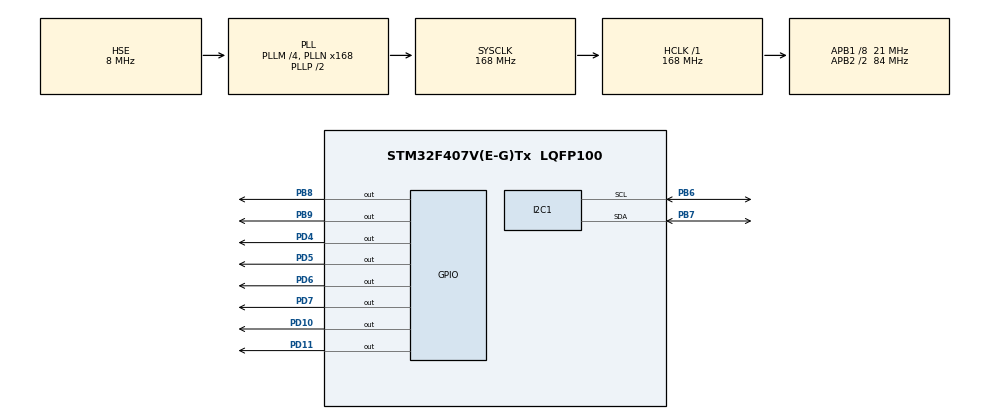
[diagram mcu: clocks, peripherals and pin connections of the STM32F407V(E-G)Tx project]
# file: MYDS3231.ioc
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I2C1.I2C_Mode=I2C_Standard
Mcu.Family=STM32F4
Mcu.Name=STM32F407V(E-G)Tx
Mcu.Package=LQFP100
NVIC.I2C1_ER_IRQn=true\:0\:0\:false\:false\:true
NVIC.I2C1_EV_IRQn=true\:0\:0\:false\:false\:true
NVIC.PriorityGroup=NVIC_PRIORITYGROUP_4
PB6.Mode=I2C
PB6.Signal=I2C1_SCL
PB7.Mode=I2C
PB7.Signal=I2C1_SDA
PB8.Signal=GPIO_Output
PB9.Signal=GPIO_Output
PD10.Signal=GPIO_Output
PD11.Signal=GPIO_Output
PD4.Signal=GPIO_Output
PD5.Signal=GPIO_Output
PD6.Signal=GPIO_Output
PD7.Signal=GPIO_Output
PH0-OSC_IN.Mode=HSE-External-Oscillator
PH0-OSC_IN.Signal=RCC_OSC_IN
PH1-OSC_OUT.Mode=HSE-External-Oscillator
PH1-OSC_OUT.Signal=RCC_OSC_OUT
ProjectManager.HeapSize=0x200
ProjectManager.StackSize=0x400
ProjectManager.TargetToolchain=MDK-ARM V5
RCC.48MHZClocksFreq_Value=84000000
RCC.AHBFreq_Value=168000000
RCC.APB1CLKDivider=RCC_HCLK_DIV8
RCC.APB1Freq_Value=21000000
RCC.APB1TimFreq_Value=42000000
RCC.APB2CLKDivider=RCC_HCLK_DIV2
RCC.APB2Freq_Value=84000000
RCC.APB2TimFreq_Value=168000000
RCC.CortexFreq_Value=168000000
RCC.HCLKFreq_Value=168000000
RCC.HSE_VALUE=8000000
RCC.HSI_VALUE=16000000
RCC.LSE_VALUE=32768
RCC.PLLM=4
RCC.PLLN=168
RCC.PLLSourceVirtual=RCC_PLLSOURCE_HSE
RCC.SYSCLKFreq_VALUE=168000000
RCC.SYSCLKSource=RCC_SYSCLKSOURCE_PLLCLK
RCC.VCOOutputFreq_Value=336000000
board=MYDS3231

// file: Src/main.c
/**
  ******************************************************************************
  * File Name          : main.c
  * Description        : Main program body
  ******************************************************************************
  *
  * COPYRIGHT(c) 2017 STMicroelectronics
  *
  * Redistribution and use in source and binary forms, with or without modification,
  * are permitted provided that the following conditions are met:
  *   1. Redistributions of source code must retain the above copyright notice,
  *      this list of conditions and the following disclaimer.
  *   2. Redistributions in binary form must reproduce the above copyright notice,
  *      this list of conditions and the following disclaimer in the documentation
  *      and/or other materials provided with the distribution.
  *   3. Neither the name of STMicroelectronics nor the names of its contributors
  *      may be used to endorse or promote products derived from this software
  *      without specific prior written permission.
  *
  * THIS SOFTWARE IS PROVIDED BY THE COPYRIGHT HOLDERS AND CONTRIBUTORS "AS IS"
  * AND ANY EXPRESS OR IMPLIED WARRANTIES, INCLUDING, BUT NOT LIMITED TO, THE
  * IMPLIED WARRANTIES OF MERCHANTABILITY AND FITNESS FOR A PARTICULAR PURPOSE ARE
  * DISCLAIMED. IN NO EVENT SHALL THE COPYRIGHT HOLDER OR CONTRIBUTORS BE LIABLE
  * FOR ANY DIRECT, INDIRECT, INCIDENTAL, SPECIAL, EXEMPLARY, OR CONSEQUENTIAL
  * DAMAGES (INCLUDING, BUT NOT LIMITED TO, PROCUREMENT OF SUBSTITUTE GOODS OR
  * SERVICES; LOSS OF USE, DATA, OR PROFITS; OR BUSINESS INTERRUPTION) HOWEVER
  * CAUSED AND ON ANY THEORY OF LIABILITY, WHETHER IN CONTRACT, STRICT LIABILITY,
  * OR TORT (INCLUDING NEGLIGENCE OR OTHERWISE) ARISING IN ANY WAY OUT OF THE USE
  * OF THIS SOFTWARE, EVEN IF ADVISED OF THE POSSIBILITY OF SUCH DAMAGE.
  *
  ******************************************************************************
  */
#include "main.h"
#include "stm32f4xx_hal.h"

/* USER CODE BEGIN Includes */
#include "main.h"
/* USER CODE END Includes */

I2C_HandleTypeDef hi2c1;
uint8_t aTxBuffer[8];
/* USER CODE BEGIN PV */
/* Private variables ---------------------------------------------------------*/

/* USER CODE END PV */

void SystemClock_Config(void);
void Error_Handler(void);
static void MX_GPIO_Init(void);
static void MX_I2C1_Init(void);

/* USER CODE BEGIN PFP */
/* Private function prototypes -----------------------------------------------*/

/* USER CODE END PFP */

int main(void)
{

  /* USER CODE BEGIN 1 */
	uint32_t i=0;
	uint8_t sec=0,min=0,hour=0,day=0,date=0,month=0,year=0;
	//char str[100];
  /* USER CODE END 1 */

  /* MCU Configuration----------------------------------------------------------*/

  /* Reset of all peripherals, Initializes the Flash interface and the Systick. */
  HAL_Init();

  /* Configure the system clock */
  SystemClock_Config();

  /* Initialize all configured peripherals */
  MX_GPIO_Init();
  MX_I2C1_Init();

  /* USER CODE BEGIN 2 */
	LCD_ini();
	LCD_Clear();
  /* USER CODE END 2 */

  /* Infinite loop */
  /* USER CODE BEGIN WHILE */
  while (1)
  {
		LCD_SetPos(0,1);
		aTxBuffer[0]=0;
		I2C_WriteBuffer(hi2c1,(uint16_t)0xD0,1);//Передадим адрес устройству
		while(HAL_I2C_GetState(&hi2c1)!=HAL_I2C_STATE_READY)
		{
		}
		I2C_ReadBuffer(hi2c1,(uint16_t)0xD0,7);//Считаем 7 байт с устройства
		date = aTxBuffer[4];
		date = RTC_ConvertFromDec(date);
		LCD_SendChar((char)((date/10)%10)+0x30);
		LCD_SendChar((char)(date%10)+0x30);
		LCD_SendChar(':');
		month = aTxBuffer[5];
		month = RTC_ConvertFromDec(month);
		LCD_SendChar((char)((month/10)%10)+0x30);
		LCD_SendChar((char)(month%10)+0x30);
		LCD_SendChar(':');
		year = aTxBuffer[6];
		year = RTC_ConvertFromDec(year);
		LCD_SendChar((char)((year/10)%10)+0x30);
		LCD_SendChar((char)(year%10)+0x30);
		LCD_SendChar(':');
		day = aTxBuffer[3];
		day = RTC_ConvertFromDec(day);
		LCD_SendChar((char)(day%10)+0x30);
		LCD_SendChar(':');
		hour = aTxBuffer[2];
		hour = RTC_ConvertFromDec(hour);
		LCD_SendChar((char)((hour/10)%10)+0x30);
		LCD_SendChar((char)(hour%10)+0x30);
		LCD_SendChar(':');
		min = aTxBuffer[1];
		min = RTC_ConvertFromDec(min);
		LCD_SendChar((char)((min/10)%10)+0x30);
		LCD_SendChar((char)(min%10)+0x30);
		LCD_SendChar(':');
		sec = aTxBuffer[0];
		sec = RTC_ConvertFromDec(sec);
		LCD_SendChar((char)((sec/10)%10)+0x30);
		LCD_SendChar((char)(sec%10)+0x30);

  /* USER CODE END WHILE */

  }

}

/** System Clock Configuration
*/
void SystemClock_Config(void)
{

  RCC_OscInitTypeDef RCC_OscInitStruct;
  RCC_ClkInitTypeDef RCC_ClkInitStruct;

    /**Configure the main internal regulator output voltage
    */
  __HAL_RCC_PWR_CLK_ENABLE();

  __HAL_PWR_VOLTAGESCALING_CONFIG(PWR_REGULATOR_VOLTAGE_SCALE1);

    /**Initializes the CPU, AHB and APB busses clocks
    */
  RCC_OscInitStruct.OscillatorType = RCC_OSCILLATORTYPE_HSE;
  RCC_OscInitStruct.HSEState = RCC_HSE_ON;
  RCC_OscInitStruct.PLL.PLLState = RCC_PLL_ON;
  RCC_OscInitStruct.PLL.PLLSource = RCC_PLLSOURCE_HSE;
  RCC_OscInitStruct.PLL.PLLM = 4;
  RCC_OscInitStruct.PLL.PLLN = 168;
  RCC_OscInitStruct.PLL.PLLP = RCC_PLLP_DIV2;
  RCC_OscInitStruct.PLL.PLLQ = 4;
  if (HAL_RCC_OscConfig(&RCC_OscInitStruct) != HAL_OK)
  {
    Error_Handler();
  }

    /**Initializes the CPU, AHB and APB busses clocks
    */
  RCC_ClkInitStruct.ClockType = RCC_CLOCKTYPE_HCLK|RCC_CLOCKTYPE_SYSCLK
                              |RCC_CLOCKTYPE_PCLK1|RCC_CLOCKTYPE_PCLK2;
  RCC_ClkInitStruct.SYSCLKSource = RCC_SYSCLKSOURCE_PLLCLK;
  RCC_ClkInitStruct.AHBCLKDivider = RCC_SYSCLK_DIV1;
  RCC_ClkInitStruct.APB1CLKDivider = RCC_HCLK_DIV8;
  RCC_ClkInitStruct.APB2CLKDivider = RCC_HCLK_DIV2;

  if (HAL_RCC_ClockConfig(&RCC_ClkInitStruct, FLASH_LATENCY_5) != HAL_OK)
  {
    Error_Handler();
  }

    /**Configure the Systick interrupt time
    */
  HAL_SYSTICK_Config(HAL_RCC_GetHCLKFreq()/1000);

    /**Configure the Systick
    */
  HAL_SYSTICK_CLKSourceConfig(SYSTICK_CLKSOURCE_HCLK);

  /* SysTick_IRQn interrupt configuration */
  HAL_NVIC_SetPriority(SysTick_IRQn, 0, 0);
}

/* I2C1 init function */
static void MX_I2C1_Init(void)
{

  hi2c1.Instance = I2C1;
  hi2c1.Init.ClockSpeed = 100000;
  hi2c1.Init.DutyCycle = I2C_DUTYCYCLE_2;
  hi2c1.Init.OwnAddress1 = 0;
  hi2c1.Init.AddressingMode = I2C_ADDRESSINGMODE_7BIT;
  hi2c1.Init.DualAddressMode = I2C_DUALADDRESS_DISABLE;
  hi2c1.Init.OwnAddress2 = 0;
  hi2c1.Init.GeneralCallMode = I2C_GENERALCALL_DISABLE;
  hi2c1.Init.NoStretchMode = I2C_NOSTRETCH_DISABLE;
  if (HAL_I2C_Init(&hi2c1) != HAL_OK)
  {
    Error_Handler();
  }

}

/** Configure pins as
        * Analog
        * Input
        * Output
        * EVENT_OUT
        * EXTI
*/
static void MX_GPIO_Init(void)
{

  GPIO_InitTypeDef GPIO_InitStruct;

  /* GPIO Ports Clock Enable */
  __HAL_RCC_GPIOH_CLK_ENABLE();
  __HAL_RCC_GPIOD_CLK_ENABLE();
  __HAL_RCC_GPIOB_CLK_ENABLE();

  /*Configure GPIO pin Output Level */
  HAL_GPIO_WritePin(GPIOD, GPIO_PIN_10|GPIO_PIN_11|GPIO_PIN_4|GPIO_PIN_5
                          |GPIO_PIN_6|GPIO_PIN_7, GPIO_PIN_RESET);

  /*Configure GPIO pin Output Level */
  HAL_GPIO_WritePin(GPIOB, GPIO_PIN_8|GPIO_PIN_9, GPIO_PIN_RESET);

  /*Configure GPIO pins : PD10 PD11 PD4 PD5
                           PD6 PD7 */
  GPIO_InitStruct.Pin = GPIO_PIN_10|GPIO_PIN_11|GPIO_PIN_4|GPIO_PIN_5
                          |GPIO_PIN_6|GPIO_PIN_7;
  GPIO_InitStruct.Mode = GPIO_MODE_OUTPUT_PP;
  GPIO_InitStruct.Pull = GPIO_NOPULL;
  GPIO_InitStruct.Speed = GPIO_SPEED_FREQ_LOW;
  HAL_GPIO_Init(GPIOD, &GPIO_InitStruct);

  /*Configure GPIO pins : PB8 PB9 */
  GPIO_InitStruct.Pin = GPIO_PIN_8|GPIO_PIN_9;
  GPIO_InitStruct.Mode = GPIO_MODE_OUTPUT_PP;
  GPIO_InitStruct.Pull = GPIO_NOPULL;
  GPIO_InitStruct.Speed = GPIO_SPEED_FREQ_LOW;
  HAL_GPIO_Init(GPIOB, &GPIO_InitStruct);

}

void Error_Handler(void)
{
  while(1)
  {
  }
}

/************************ (C) COPYRIGHT STMicroelectronics *****END OF FILE****/
